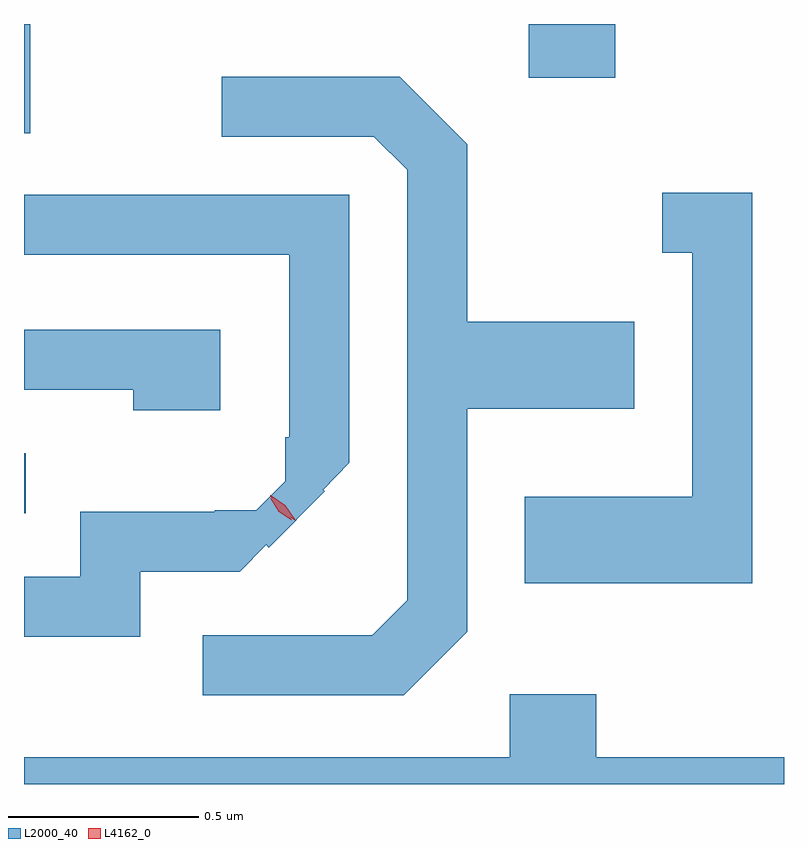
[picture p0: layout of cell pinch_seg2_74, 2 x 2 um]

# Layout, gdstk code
import gdstk
lib = gdstk.Library(unit=1e-6, precision=1e-09)
def R(c, l, rs):  # rectangles x0, y0, x1, y1
    for r in rs: c.add(gdstk.rectangle(r[:2], r[2:], *l))
def P(c, l, *ps):  # polygons
    for p in ps: c.add(gdstk.Polygon(p, *l))
L2000_40 = (2000, 40)
L4162_0 = (4162, 0)

pinch_seg2_74 = lib.new_cell('pinch_seg2_74')
R(pinch_seg2_74, L2000_40, [(1221.253,1064.766,1221.258,1064.924), (1221.253,1065.766,1221.269,1066.053), (1222.581,1065.911,1222.809,1066.053)])
P(pinch_seg2_74, L2000_40, [(1222.419,1064.454),(1222.419,1065.041),(1222.859,1065.041),(1222.859,1065.269),(1222.419,1065.269),(1222.419,1065.737),(1222.242,1065.914),(1221.773,1065.914),(1221.773,1065.756),(1222.174,1065.756),(1222.261,1065.669),(1222.261,1064.537),(1222.169,1064.444),(1221.723,1064.444),(1221.723,1064.286),(1222.252,1064.286)],
  [(1223.169,1065.609),(1222.933,1065.609),(1222.933,1065.451),(1223.011,1065.451),(1223.011,1064.809),(1222.571,1064.809),(1222.571,1064.581),(1223.169,1064.581)],
  [(1221.559,1064.611),(1221.821,1064.611),(1221.891,1064.682),(1221.897,1064.675),(1222.045,1064.823),(1222.04,1064.828),(1222.109,1064.898),(1222.109,1065.604),(1221.253,1065.604),(1221.253,1065.446),(1221.951,1065.446),(1221.951,1064.965),(1221.94,1064.965),(1221.94,1064.85),(1221.864,1064.774),(1221.755,1064.774),(1221.755,1064.769),(1221.401,1064.769),(1221.401,1064.599),(1221.253,1064.599),(1221.253,1064.441),(1221.559,1064.441)],
  [(1221.769,1065.249),(1221.253,1065.249),(1221.253,1065.091),(1221.541,1065.091),(1221.541,1065.036),(1221.769,1065.036)],
  [(1223.253,1064.124),(1222.759,1064.124),(1222.759,1064.289),(1222.531,1064.289),(1222.531,1064.124),(1221.253,1064.124),(1221.253,1064.053),(1223.253,1064.053)])
P(pinch_seg2_74, L4162_0, [(1221.966,1064.747),(1221.927,1064.773),(1221.901,1064.812),(1221.901,1064.813),(1221.902,1064.813),(1221.941,1064.787),(1221.967,1064.748),(1221.967,1064.747)],
  [(1221.957,1064.747),(1221.923,1064.769),(1221.902,1064.804),(1221.902,1064.805),(1221.902,1064.805),(1221.937,1064.783),(1221.958,1064.747),(1221.958,1064.747)])

lib.write_gds('pinch_seg2_74.gds')
